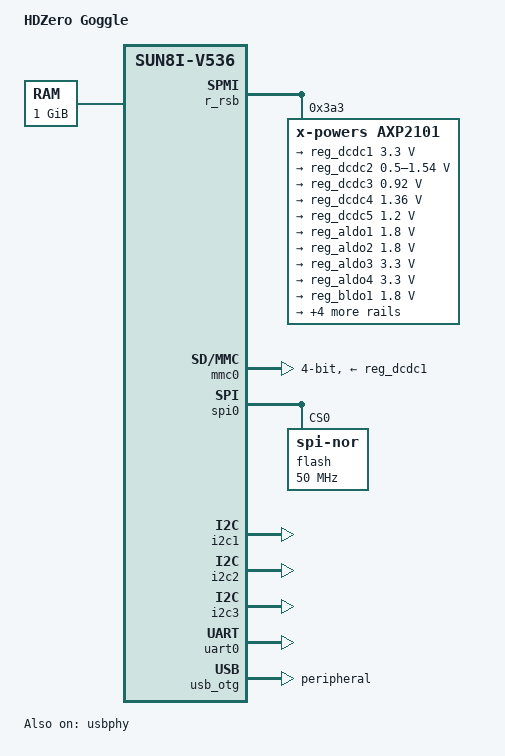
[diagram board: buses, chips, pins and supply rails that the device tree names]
// SPDX-License-Identifier: (GPL-2.0+ OR MIT)
/*
 * HDZero Goggle (Allwinner V536), minimal bring-up devicetree.
 */

/dts-v1/;
#include "sun8i-v536.dtsi"

/ {
	model = "HDZero Goggle";
	compatible = "hdzero,goggle", "allwinner,sun8i-v536";

	aliases {
		serial0 = &uart0;
	};

	chosen {
		stdout-path = "serial0:115200n8";
		bootargs = "earlycon=uart8250,mmio32,0x05000000 console=ttyS0,115200 loglevel=8";
	};

	memory@40000000 {
		device_type = "memory";
		reg = <0x40000000 0x40000000>;
	};

};

&r_rsb {
	status = "okay";

	/*
	 * boot0 switches the PMIC into RSB mode, so it is not reachable over
	 * plain I2C (s_twi0); the vendor kernel also talks to it via RSB.
	 */
	axp2101: pmic@3a3 {
		compatible = "x-powers,axp2101";
		reg = <0x3a3>;
		interrupt-parent = <&gic>;
		interrupts = <GIC_SPI 104 IRQ_TYPE_LEVEL_HIGH>;

		regulators {
			/* 3.3 V main I/O rail */
			reg_dcdc1: dcdc1 {
				regulator-name = "vcc-3v3";
				regulator-min-microvolt = <3300000>;
				regulator-max-microvolt = <3300000>;
				regulator-always-on;
			};

			/* CPU core supply */
			reg_dcdc2: dcdc2 {
				regulator-name = "vdd-cpua";
				regulator-min-microvolt = <500000>;
				regulator-max-microvolt = <1540000>;
				regulator-always-on;
			};

			/* System / USB / HDMI 0.9 V */
			reg_dcdc3: dcdc3 {
				regulator-name = "vdd-sys";
				regulator-min-microvolt = <920000>;
				regulator-max-microvolt = <920000>;
				regulator-always-on;
			};

			/* DRAM supply */
			reg_dcdc4: dcdc4 {
				regulator-name = "vcc-dram";
				regulator-min-microvolt = <1360000>;
				regulator-max-microvolt = <1360000>;
				regulator-always-on;
			};

			reg_dcdc5: dcdc5 {
				regulator-name = "vcc-dcdc5";
				regulator-min-microvolt = <1200000>;
				regulator-max-microvolt = <1200000>;
			};

			/* LPDDR / DRAM 1.8 V / PLL / AVCC */
			reg_aldo1: aldo1 {
				regulator-name = "vcc-pll";
				regulator-min-microvolt = <1800000>;
				regulator-max-microvolt = <1800000>;
				regulator-always-on;
			};

			reg_aldo2: aldo2 {
				regulator-name = "vcc-pe";
				regulator-min-microvolt = <1800000>;
				regulator-max-microvolt = <1800000>;
			};

			reg_aldo3: aldo3 {
				regulator-name = "vcc-pl";
				regulator-min-microvolt = <3300000>;
				regulator-max-microvolt = <3300000>;
			};

			reg_aldo4: aldo4 {
				regulator-name = "vcc-pf";
				regulator-min-microvolt = <3300000>;
				regulator-max-microvolt = <3300000>;
			};

			/* 1.8 V PC / various I/O */
			reg_bldo1: bldo1 {
				regulator-name = "vcc18-pc";
				regulator-min-microvolt = <1800000>;
				regulator-max-microvolt = <1800000>;
				regulator-always-on;
			};

			reg_bldo2: bldo2 {
				regulator-name = "avdd-csi";
				regulator-min-microvolt = <3300000>;
				regulator-max-microvolt = <3300000>;
			};

			/* CPU standby LDO */
			reg_cpusldo: cpusldo {
				regulator-name = "vdd-cpus";
				regulator-min-microvolt = <900000>;
				regulator-max-microvolt = <900000>;
				regulator-always-on;
			};

			reg_dldo1: dldo1 {
				regulator-name = "vcc-dldo1";
				regulator-min-microvolt = <500000>;
				regulator-max-microvolt = <500000>;
			};

			/* DVDD CSI 1.2 V */
			reg_dldo2: dldo2 {
				regulator-name = "dvdd-csi";
				regulator-min-microvolt = <1200000>;
				regulator-max-microvolt = <1200000>;
			};
		};
	};
};

&pio {
	vcc-pc-supply = <&reg_bldo1>;
	vcc-pe-supply = <&reg_aldo2>;
	vcc-pf-supply = <&reg_aldo4>;
};

&r_pio {
	vcc-pl-supply = <&reg_aldo3>;
};

&mmc0 {
	vmmc-supply = <&reg_dcdc1>;
	vqmmc-supply = <&reg_aldo4>;
	bus-width = <4>;
	broken-cd;
	max-frequency = <50000000>;
	status = "okay";
};

/* FPGA configuration flash */
&spi0 {
	status = "okay";

	flash@0 {
		compatible = "jedec,spi-nor";
		reg = <0>;
		spi-max-frequency = <50000000>;
	};
};

&i2c1 {
	status = "okay";
};

&i2c2 {
	status = "okay";
};

&i2c3 {
	pinctrl-0 = <&i2c3_pi_pins>;
	status = "okay";
};

&uart0 {
	/* Pins are muxed by the boot loader until pinctrl support exists. */
	status = "okay";
};

/*
 * USB-C port on USB0. The vendor board config uses port_type 0 (device
 * only) with VBUS handled by the PMIC, so start in peripheral mode
 * until ID/VBUS detection is wired up.
 */
&usb_otg {
	dr_mode = "peripheral";
	status = "okay";
};

&usbphy {
	status = "okay";
};
